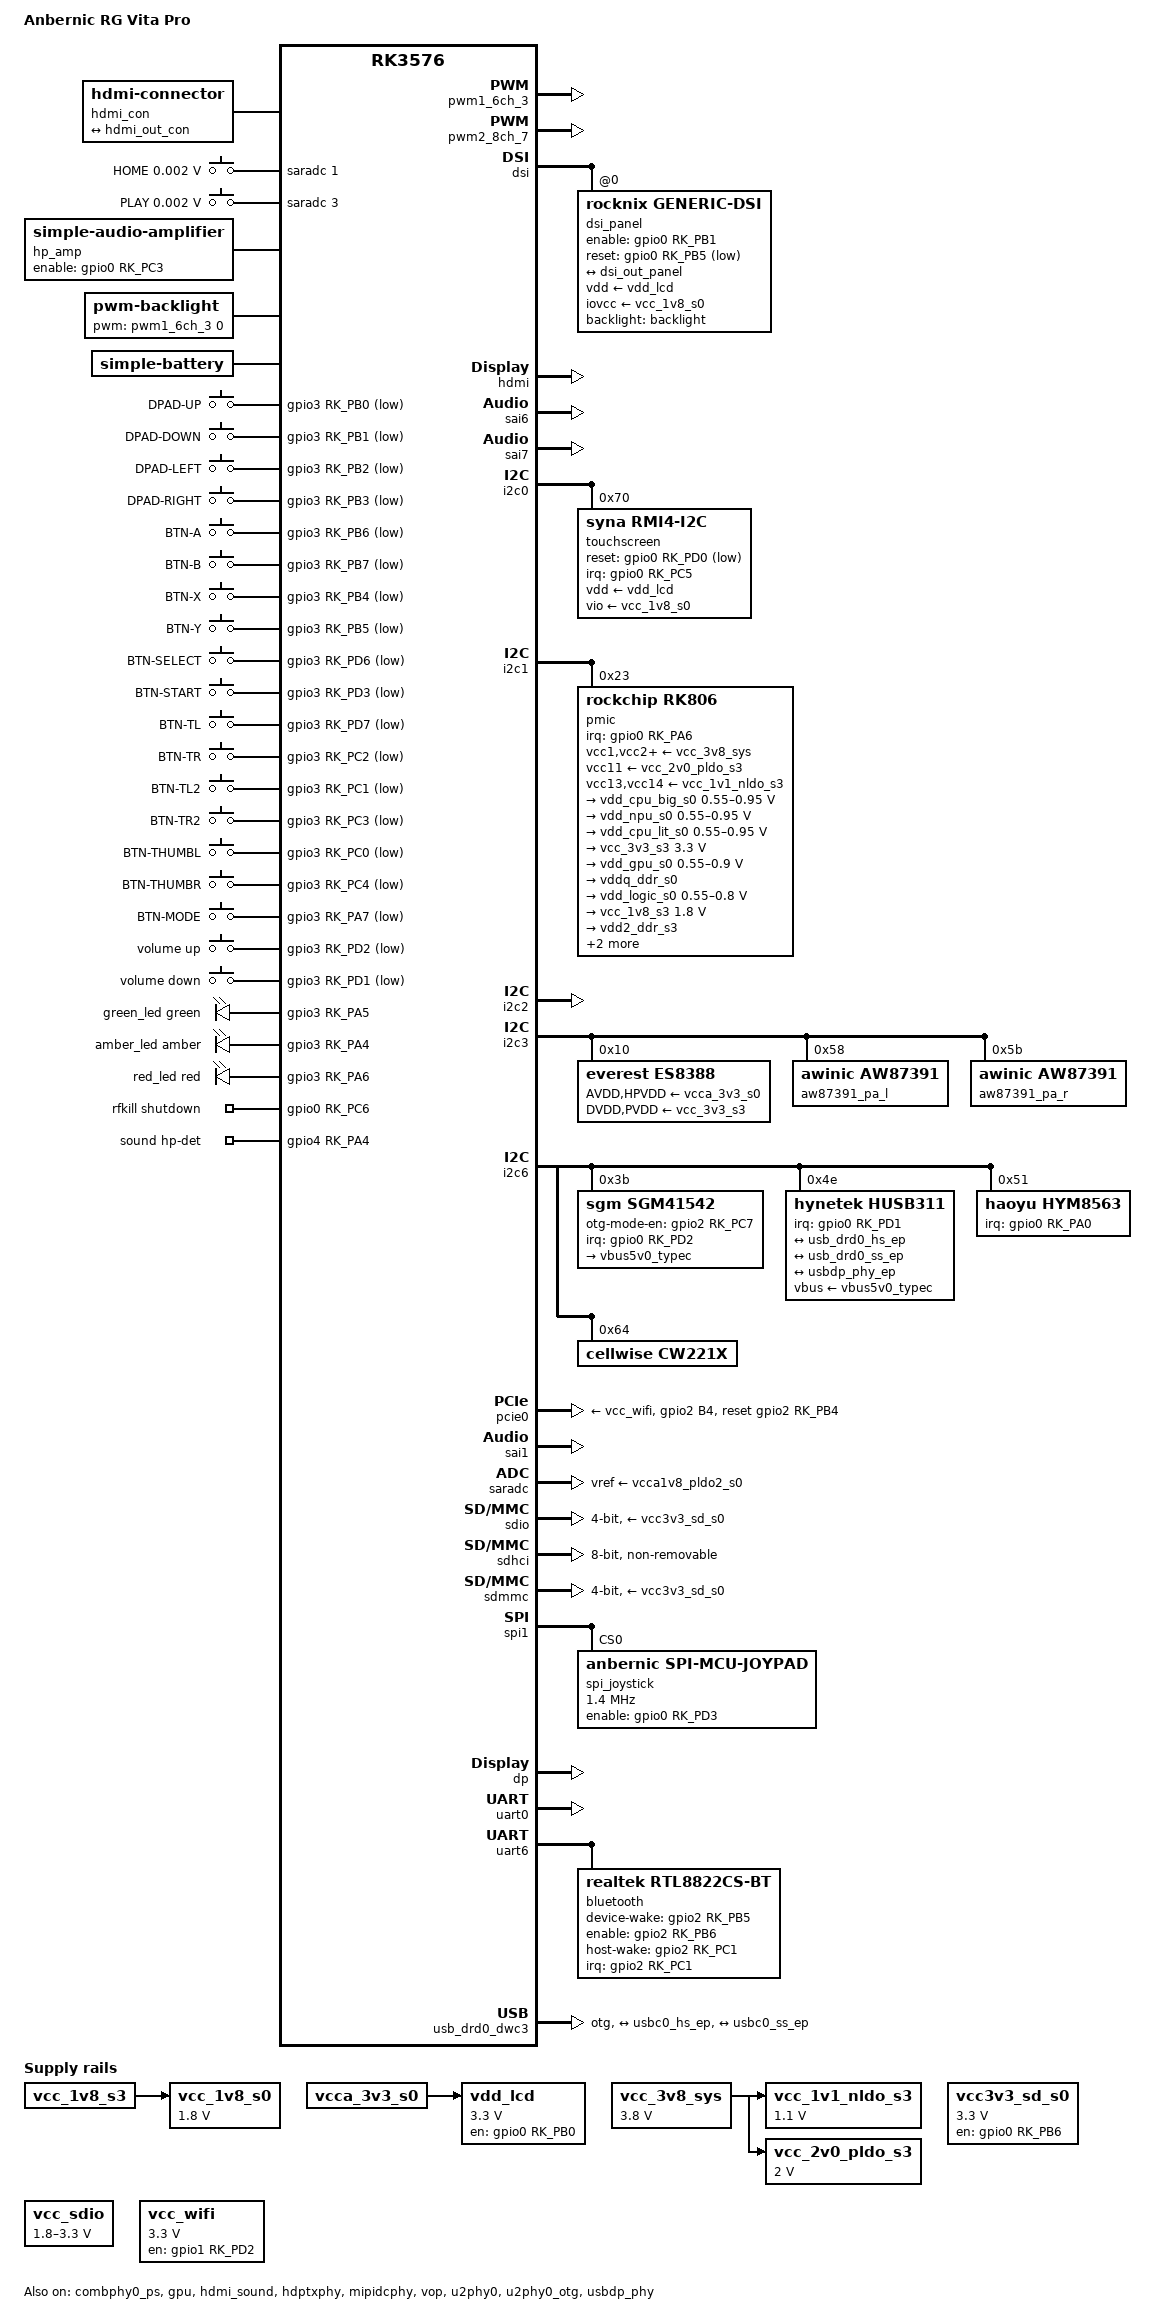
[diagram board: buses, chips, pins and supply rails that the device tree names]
// SPDX-License-Identifier: (GPL-2.0+ OR MIT)
/*
 * Copyright (c) 2026 Chris Morgan <macromorgan@hotmail.com>
 *               2026 Alexander Weinzerl <aweinzerl13@yahoo.com.>
 */

/dts-v1/;

#include <dt-bindings/gpio/gpio.h>
#include <dt-bindings/input/linux-event-codes.h>
#include <dt-bindings/leds/common.h>
#include <dt-bindings/pinctrl/rockchip.h>
#include <dt-bindings/pwm/pwm.h>
#include <dt-bindings/soc/rockchip,vop2.h>
#include <dt-bindings/usb/pd.h>

#include "rk3576.dtsi"

/ {
	model = "Anbernic RG Vita Pro";
	compatible = "anbernic,rg-vita-pro", "rockchip,rk3576";

	aliases {
		mmc0 = &sdhci;
		mmc1 = &sdmmc;
		mmc2 = &sdio;
	};

	chosen {
		stdout-path = "serial0:1500000n8";
	};

	/* Consider moving to a patch for other RK3576 devices */
	reserved-memory {
		#address-cells = <2>;
		#size-cells = <2>;
		ranges;

		linux,cma {
			compatible = "shared-dma-pool";
			reusable;
			size = <0x0 0x10000000>;
			alignment = <0x0 0x400000>;
			linux,cma-default;
		};
	};

	hdmi_con: hdmi-connector {
		compatible = "hdmi-connector";
		type = "c";

		port {
			hdmi_con_in: endpoint {
				remote-endpoint = <&hdmi_out_con>;
			};
		};
	};

	adc_keys_home: adc-keys-home {
		compatible = "adc-keys";
		io-channel-names = "buttons";
		io-channels = <&saradc 1>;
		keyup-threshold-microvolt = <1800000>;
		poll-interval = <60>;

		button-home {
			label = "HOME";
			linux,code = <BTN_Z>;
			press-threshold-microvolt = <1750>;
		};
	};

	adc_keys_play: adc-keys-play {
		compatible = "adc-keys";
		io-channel-names = "buttons";
		io-channels = <&saradc 3>;
		keyup-threshold-microvolt = <1300000>;
		poll-interval = <60>;

		button-play {
			label = "PLAY";
			linux,code = <KEY_PLAYPAUSE>;
			press-threshold-microvolt = <1750>;
		};
	};
	
	hp_amp: audio-amplifier {
		compatible = "simple-audio-amplifier";
		enable-gpios = <&gpio0 RK_PC3 GPIO_ACTIVE_HIGH>;
		pinctrl-0 = <&hp_amp_enable_h>;
		pinctrl-names = "default";
		sound-name-prefix = "Headphone Amp";
	};

	backlight: backlight {
		compatible = "pwm-backlight";
		pwms = <&pwm1_6ch_3 0 25000 0>;
		brightness-levels = <
			  0   0   0   0   1   1   1   1   1   2   2   2   3   3   3   4
			  4   4   5   5   6   6   6   7   7   8   8   9   9  10  10  11
			 11  12  12  13  14  14  15  15  16  16  17  18  18  19  20  20
			 21  21  22  23  23  24  25  26  26  27  28  28  29  30  31  31
			 32  33  34  34  35  36  37  37  38  39  40  41  41  42  43  44
			 45  46  46  47  48  49  50  51  52  53  53  54  55  56  57  58
			 59  60  61  62  63  64  65  65  66  67  68  69  70  71  72  73
			 74  75  76  77  78  79  80  81  82  83  84  85  86  88  89  90
			 91  92  93  94  95  96  97  98  99 100 102 103 104 105 106 107
			108 109 110 112 113 114 115 116 117 119 120 121 122 123 124 126
			127 128 129 130 132 133 134 135 136 138 139 140 141 142 144 145
			146 147 149 150 151 152 154 155 156 158 159 160 161 163 164 165
			167 168 169 171 172 173 174 176 177 178 180 181 182 184 185 187
			188 189 191 192 193 195 196 197 199 200 202 203 204 206 207 209
			210 211 213 214 216 217 218 220 221 223 224 226 227 228 230 231
			233 234 236 237 239 240 242 243 245 246 248 249 251 252 254 255
		>;
		default-brightness-level = <128>;
	};

	battery: battery {
		compatible = "simple-battery";
		charge-full-design-microamp-hours = <5000000>;
		charge-term-current-microamp = <300000>;
		constant-charge-current-max-microamp = <3780000>;
		constant-charge-voltage-max-microvolt = <4350000>;
		factory-internal-resistance-micro-ohms = <80>;
		precharge-current-microamp = <180000>;
		precharge-upper-limit-microvolt = <3600000>;
		voltage-max-design-microvolt = <4350000>;
		voltage-min-design-microvolt = <3000000>;
	};

	/*
	 * Analog sticks + RGB LEDs are handled by an SPI MCU
	 * (spi1: spi_joystick, driver: spi-mcu-joypad).
	 */
	gamepad_keys: gamepad-keys {
		compatible = "gpio-keys";
		pinctrl-names = "default";
		pinctrl-0 = <&button_pins>;

		button-dpad-up {
			label = "DPAD-UP";
			gpios = <&gpio3 RK_PB0 GPIO_ACTIVE_LOW>;
			linux,code = <BTN_DPAD_UP>;
		};
		button-dpad-down {
			label = "DPAD-DOWN";
			gpios = <&gpio3 RK_PB1 GPIO_ACTIVE_LOW>;
			linux,code = <BTN_DPAD_DOWN>;
		};
		button-dpad-left {
			label = "DPAD-LEFT";
			gpios = <&gpio3 RK_PB2 GPIO_ACTIVE_LOW>;
			linux,code = <BTN_DPAD_LEFT>;
		};
		button-dpad-right {
			label = "DPAD-RIGHT";
			gpios = <&gpio3 RK_PB3 GPIO_ACTIVE_LOW>;
			linux,code = <BTN_DPAD_RIGHT>;
		};
		button-a {
			label = "BTN-A";
			gpios = <&gpio3 RK_PB6 GPIO_ACTIVE_LOW>;
			linux,code = <BTN_EAST>;
		};
		button-b {
			label = "BTN-B";
			gpios = <&gpio3 RK_PB7 GPIO_ACTIVE_LOW>;
			linux,code = <BTN_SOUTH>;
		};
		button-x {
			label = "BTN-X";
			gpios = <&gpio3 RK_PB4 GPIO_ACTIVE_LOW>;
			linux,code = <BTN_NORTH>;
		};
		button-y {
			label = "BTN-Y";
			gpios = <&gpio3 RK_PB5 GPIO_ACTIVE_LOW>;
			linux,code = <BTN_WEST>;
		};
		button-select {
			label = "BTN-SELECT";
			gpios = <&gpio3 RK_PD6 GPIO_ACTIVE_LOW>;
			linux,code = <BTN_SELECT>;
		};
		button-start {
			label = "BTN-START";
			gpios = <&gpio3 RK_PD3 GPIO_ACTIVE_LOW>;
			linux,code = <BTN_START>;
		};
		button-l1 {
			label = "BTN-TL";
			gpios = <&gpio3 RK_PD7 GPIO_ACTIVE_LOW>;
			linux,code = <BTN_TL>;
		};
		button-r1 {
			label = "BTN-TR";
			gpios = <&gpio3 RK_PC2 GPIO_ACTIVE_LOW>;
			linux,code = <BTN_TR>;
		};
		button-l2 {
			label = "BTN-TL2";
			gpios = <&gpio3 RK_PC1 GPIO_ACTIVE_LOW>;
			linux,code = <BTN_TL2>;
		};
		button-r2 {
			label = "BTN-TR2";
			gpios = <&gpio3 RK_PC3 GPIO_ACTIVE_LOW>;
			linux,code = <BTN_TR2>;
		};
		button-thumbl {
			label = "BTN-THUMBL";
			gpios = <&gpio3 RK_PC0 GPIO_ACTIVE_LOW>;
			linux,code = <BTN_THUMBL>;
		};
		button-thumbr {
			label = "BTN-THUMBR";
			gpios = <&gpio3 RK_PC4 GPIO_ACTIVE_LOW>;
			linux,code = <BTN_THUMBR>;
		};
		button-mode {
			label = "BTN-MODE";
			gpios = <&gpio3 RK_PA7 GPIO_ACTIVE_LOW>;
			linux,code = <BTN_MODE>;
		};
	};

	gpio_keys: gpio-keys {
		compatible = "gpio-keys";
		pinctrl-0 = <&vol_keys>;
		pinctrl-names = "default";

		vol-up-key {
			debounce-interval = <2>;
			gpios = <&gpio3 RK_PD2 GPIO_ACTIVE_LOW>;
			label = "volume up";
			linux,code = <KEY_VOLUMEUP>;
		};

		vol-down-key {
			debounce-interval = <2>;
			gpios = <&gpio3 RK_PD1 GPIO_ACTIVE_LOW>;
			label = "volume down";
			linux,code = <KEY_VOLUMEDOWN>;
		};
	};

	gpio_leds: leds {
		compatible = "gpio-leds";
		pinctrl-0 = <&led_amber_h>, <&led_green_h>, <&led_red_h>;
		pinctrl-names = "default";

		green_led: led-0 {
			color = <LED_COLOR_ID_GREEN>;
			default-state = "on";
			function = LED_FUNCTION_POWER;
			gpios = <&gpio3 RK_PA5 GPIO_ACTIVE_HIGH>;
		};

		amber_led: led-1 {
			color = <LED_COLOR_ID_AMBER>;
			function = LED_FUNCTION_CHARGING;
			gpios = <&gpio3 RK_PA4 GPIO_ACTIVE_HIGH>;
		};

		red_led: led-2 {
			color = <LED_COLOR_ID_RED>;
			function = LED_FUNCTION_STATUS;
			gpios = <&gpio3 RK_PA6 GPIO_ACTIVE_HIGH>;
		};
	};

	pwm1_6ch_3: pwm@2add3000 {
		compatible = "rockchip,rk3576-pwm";
		reg = <0x0 0x2add3000 0x0 0x1000>;
		interrupts = <GIC_SPI 105 IRQ_TYPE_LEVEL_HIGH>;
		#pwm-cells = <3>;
		pinctrl-names = "default";
		pinctrl-0 = <&pwm1m2_ch3>;
		clocks = <&cru CLK_PWM1>, <&cru PCLK_PWM1>,
			 <&cru CLK_OSC_PWM1>, <&cru CLK_RC_PWM1>;
		clock-names = "pwm", "pclk", "osc", "rc";
		status = "okay";
	};

    pwm2_8ch_7: pwm@2ade7000 {
        compatible = "rockchip,rk3576-pwm";
        reg = <0x0 0x2ade7000 0 0x1000>;
        interrupts = <GIC_SPI 115 IRQ_TYPE_LEVEL_HIGH>;
        #pwm-cells = <3>;
        pinctrl-names = "default";
        pinctrl-0 = <&pwm2m2_ch7>;
		clocks = <&cru CLK_PWM2>, <&cru PCLK_PWM2>,
			 <&cru CLK_OSC_PWM2>, <&cru CLK_RC_PWM2>;
		clock-names = "pwm", "pclk", "osc", "rc";
        status = "okay";
    };

	rfkill {
		compatible = "rfkill-gpio";
		pinctrl-names = "default";
		pinctrl-0 = <&wifi_en_h>;
		radio-type = "wlan";
		shutdown-gpios = <&gpio0 RK_PC6 GPIO_ACTIVE_HIGH>;
	};

	sound: sound {
		compatible = "simple-audio-card";
		pinctrl-0 = <&hp_det>;
		pinctrl-names = "default";
		simple-audio-card,aux-devs = <&aw87391_pa_l>, <&aw87391_pa_r>,
						 <&hp_amp>;
		simple-audio-card,format = "i2s";
		simple-audio-card,hp-det-gpios = <&gpio4 RK_PA4 GPIO_ACTIVE_HIGH>;
		simple-audio-card,mclk-fs = <256>;
		simple-audio-card,name = "rockchip,es8388-codec";
		simple-audio-card,pin-switches = "Headphones", "Internal Speakers";
		simple-audio-card,routing =
			"LINPUT1", "Mic Jack",
			"LINPUT2", "Mic Jack",
			"RINPUT1", "Onboard Microphone",
			"RINPUT2", "Onboard Microphone",
			"Headphones", "Headphone Amp OUTL",
			"Headphones", "Headphone Amp OUTR",
			"Headphone Amp INL", "LOUT1",
			"Headphone Amp INR", "ROUT1",
			"Internal Speakers", "Left Amp OUT",
			"Internal Speakers", "Right Amp OUT",
			"Left Amp IN", "LOUT2",
			"Right Amp IN", "ROUT2";
		simple-audio-card,widgets =
			"Microphone", "Mic Jack",
			"Microphone", "Onboard Microphone",
			"Headphone", "Headphones",
			"Speaker", "Internal Speakers";
		status = "okay";

		simple-audio-card,codec {
			sound-dai = <&es8388>;
			system-clock-frequency = <12288000>;
		};

		simple-audio-card,cpu {
			sound-dai = <&sai1>;
		};
	};

	vcc_1v1_nldo_s3: regulator-vcc-1v1-nldo-s3 {
		compatible = "regulator-fixed";
		regulator-always-on;
		regulator-boot-on;
		regulator-max-microvolt = <1100000>;
		regulator-min-microvolt = <1100000>;
		regulator-name = "vcc_1v1_nldo_s3";
		vin-supply = <&vcc_3v8_sys>;
	};

	vcc_1v8_s0: vcc-1v8-s0 {
		compatible = "regulator-fixed";
		regulator-name = "vcc_1v8_s0";
		regulator-boot-on;
		regulator-always-on;
		regulator-min-microvolt = <1800000>;
		regulator-max-microvolt = <1800000>;
		vin-supply = <&vcc_1v8_s3>;
	};

	vcc_2v0_pldo_s3: regulator-vcc-2v0-pldo-s3 {
		compatible = "regulator-fixed";
		regulator-always-on;
		regulator-boot-on;
		regulator-max-microvolt = <2000000>;
		regulator-min-microvolt = <2000000>;
		regulator-name = "vcc_2v0_pldo_s3";
		vin-supply = <&vcc_3v8_sys>;
	};

	vcc_3v8_sys: regulator-vcc-3v8-sys {
		compatible = "regulator-fixed";
		regulator-always-on;
		regulator-boot-on;
		regulator-max-microvolt = <3800000>;
		regulator-min-microvolt = <3800000>;
		regulator-name = "vcc_3v8_sys";
	};

	vcc3v3_sd_s0: regulator-vcc3v3-sd-s0 {
		compatible = "regulator-fixed";
		enable-active-high;
		gpio = <&gpio0 RK_PB6 GPIO_ACTIVE_HIGH>;
		pinctrl-0 = <&vcc_3v3_sd_s0_h>;
		pinctrl-names = "default";
		regulator-max-microvolt = <3300000>;
		regulator-min-microvolt = <3300000>;
		regulator-name = "vcc3v3_sd_s0";
		regulator-state-mem {
			regulator-off-in-suspend;
		};
	};

	vcc_sdio: regulator-vcc-sdio {
		compatible = "regulator-gpio";
		regulator-name = "vcc_sdio";
		gpios = <&gpio0 RK_PB4 GPIO_ACTIVE_HIGH>;
		pinctrl-0 = <&vcc_sdio_h>;
		pinctrl-names = "default";
		regulator-max-microvolt = <3300000>;
		regulator-min-microvolt = <1800000>;
		states = <1800000 0>, <3300000 1>;
	};

	vcc_wifi: regulator-vcc-wifi {
		compatible = "regulator-fixed";
		regulator-always-on;
		regulator-name = "vcc_wifi";
		enable-active-high;
		gpios = <&gpio1 RK_PD2 GPIO_ACTIVE_HIGH>;
		pinctrl-0 = <&vcc_wifi_h>;
		pinctrl-names = "default";
		regulator-max-microvolt = <3300000>;
		regulator-min-microvolt = <3300000>;
		regulator-state-mem {
			regulator-on-in-suspend;
		};
	};

	vdd_lcd: regulator-vdd-lcd {
		compatible = "regulator-fixed";
		regulator-name = "vdd_lcd";
		regulator-min-microvolt = <3300000>;
		regulator-max-microvolt = <3300000>;
		enable-active-high;
		gpios = <&gpio0 RK_PB0 GPIO_ACTIVE_HIGH>;
		vin-supply = <&vcca_3v3_s0>;
		regulator-state-mem {
			regulator-off-in-suspend;
		};
	};
};

&combphy0_ps {
	status = "okay";
};

&cpu_b0 {
	cpu-supply = <&vdd_cpu_big_s0>;
};

&cpu_b1 {
	cpu-supply = <&vdd_cpu_big_s0>;
};

&cpu_b2 {
	cpu-supply = <&vdd_cpu_big_s0>;
};

&cpu_b3 {
	cpu-supply = <&vdd_cpu_big_s0>;
};

&cpu_l0 {
	cpu-supply = <&vdd_cpu_lit_s0>;
};

&cpu_l1 {
	cpu-supply = <&vdd_cpu_lit_s0>;
};

&cpu_l2 {
	cpu-supply = <&vdd_cpu_lit_s0>;
};

&cpu_l3 {
	cpu-supply = <&vdd_cpu_lit_s0>;
};

&dsi {
	status = "okay";
	#address-cells = <1>;
	#size-cells = <0>;

	dsi_panel: panel@0 {
		compatible = "rocknix,generic-dsi";
		reg = <0>;
		backlight = <&backlight>;
		enable-gpios = <&gpio0 RK_PB1 GPIO_ACTIVE_HIGH>;
		reset-gpios = <&gpio0 RK_PB5 GPIO_ACTIVE_LOW>;
		pinctrl-0 = <&lcd_enable>, <&lcd_rst>;
		pinctrl-names = "default";
		rotation = <270>;
		vdd-supply = <&vdd_lcd>;
		iovcc-supply = <&vcc_1v8_s0>;

		panel_description =
			"G size=229,143 delays=50,220,50,120,20 format=rgb888 lanes=4 flags=0xe03",
			"M clock=152000 horizontal=1080,100,4,100 vertical=1920,15,5,32 default=1";

		port {
			panel_in_dsi: endpoint {
				remote-endpoint = <&dsi_out_panel>;
			};
		};
	};
};

&dsi_in {
	dsi_in_vp1: endpoint {
		remote-endpoint = <&vp1_out_dsi>;
	};
};

&dsi_out {
	dsi_out_panel: endpoint {
		remote-endpoint = <&panel_in_dsi>;
	};
};

&gpu {
	mali-supply = <&vdd_gpu_s0>;
	/* Consider adding resets property to dtsi for
	   other RK3576 devices when applicable?       */
	resets = <&cru SRST_GPU>;
	status = "okay";
};

&hdmi {
	status = "okay";
};

&hdmi_in {
	hdmi_in_vp0: endpoint {
		remote-endpoint = <&vp0_out_hdmi>;
	};
};

&hdmi_out {
	hdmi_out_con: endpoint {
		remote-endpoint = <&hdmi_con_in>;
	};
};

&hdmi_sound {
	status = "okay";
};

&hdptxphy {
	status = "okay";
};

&sai6 {
	status = "okay";
};

&sai7 {
	status = "okay";
};

&vp0 {
	vp0_out_hdmi: endpoint@ROCKCHIP_VOP2_EP_HDMI0 {
		reg = <ROCKCHIP_VOP2_EP_HDMI0>;
		remote-endpoint = <&hdmi_in_vp0>;
	};
};

&i2c0 {
	pinctrl-0 = <&i2c0m1_xfer>;
	pinctrl-names = "default";
	status = "okay";

	touchscreen: rmi4-i2c@70 {
		compatible = "syna,rmi4-i2c";
		reg = <0x70>;
		syna,startup-delay-ms = <300>;
		syna,reset-delay-ms = <200>;
		interrupt-parent = <&gpio0>;
		interrupts = <RK_PC5 IRQ_TYPE_LEVEL_LOW>;
		reset-gpios = <&gpio0 RK_PD0 GPIO_ACTIVE_LOW>;
		pinctrl-names = "default";
		pinctrl-0 = <&touch_int &touch_rst>;
		vdd-supply = <&vdd_lcd>;
		vio-supply = <&vcc_1v8_s0>;
		#address-cells = <1>;
		#size-cells = <0>;

		rmi4-f01@1 {
			reg = <0x01>;
			syna,nosleep-mode = <1>;
		};

		rmi4-f12@12 {
			reg = <0x12>;
			syna,sensor-type = <1>;
			syna,clip-x-high = <1080>;
			syna,clip-y-high = <1920>;
		};
	};
};

&i2c1 {
	status = "okay";

	pmic@23 {
		compatible = "rockchip,rk806";
		reg = <0x23>;
		#gpio-cells = <2>;
		gpio-controller;
		interrupt-parent = <&gpio0>;
		interrupts = <RK_PA6 IRQ_TYPE_LEVEL_LOW>;
		pinctrl-names = "default";
		pinctrl-0 = <&pmic_pins
				 &rk806_dvs1_null
				 &rk806_dvs2_null
				 &rk806_dvs3_null>;
		system-power-controller;
		vcc1-supply = <&vcc_3v8_sys>;
		vcc2-supply = <&vcc_3v8_sys>;
		vcc3-supply = <&vcc_3v8_sys>;
		vcc4-supply = <&vcc_3v8_sys>;
		vcc5-supply = <&vcc_3v8_sys>;
		vcc6-supply = <&vcc_3v8_sys>;
		vcc7-supply = <&vcc_3v8_sys>;
		vcc8-supply = <&vcc_3v8_sys>;
		vcc9-supply = <&vcc_3v8_sys>;
		vcc10-supply = <&vcc_3v8_sys>;
		vcc11-supply = <&vcc_2v0_pldo_s3>;
		vcc12-supply = <&vcc_3v8_sys>;
		vcc13-supply = <&vcc_1v1_nldo_s3>;
		vcc14-supply = <&vcc_1v1_nldo_s3>;
		vcca-supply = <&vcc_3v8_sys>;

		rk806_dvs1_null: dvs1-null-pins {
			pins = "gpio_pwrctrl1";
			function = "pin_fun0";
		};

		rk806_dvs1_pwrdn: dvs1-pwrdn-pins {
			pins = "gpio_pwrctrl1";
			function = "pin_fun2";
		};

		rk806_dvs1_rst: dvs1-rst-pins {
			pins = "gpio_pwrctrl1";
			function = "pin_fun3";
		};

		rk806_dvs1_slp: dvs1-slp-pins {
			pins = "gpio_pwrctrl1";
			function = "pin_fun1";
		};

		rk806_dvs2_dvs: dvs2-dvs-pins {
			pins = "gpio_pwrctrl2";
			function = "pin_fun4";
		};

		rk806_dvs2_gpio: dvs2-gpio-pins {
			pins = "gpio_pwrctrl2";
			function = "pin_fun5";
		};

		rk806_dvs2_null: dvs2-null-pins {
			pins = "gpio_pwrctrl2";
			function = "pin_fun0";
		};

		rk806_dvs2_pwrdn: dvs2-pwrdn-pins {
			pins = "gpio_pwrctrl2";
			function = "pin_fun2";
		};

		rk806_dvs2_rst: dvs2-rst-pins {
			pins = "gpio_pwrctrl2";
			function = "pin_fun3";
		};

		rk806_dvs2_slp: dvs2-slp-pins {
			pins = "gpio_pwrctrl2";
			function = "pin_fun1";
		};

		rk806_dvs3_dvs: dvs3-dvs-pins {
			pins = "gpio_pwrctrl3";
			function = "pin_fun4";
		};

		rk806_dvs3_gpio: dvs3-gpio-pins {
			pins = "gpio_pwrctrl3";
			function = "pin_fun5";
		};

		rk806_dvs3_null: dvs3-null-pins {
			pins = "gpio_pwrctrl3";
			function = "pin_fun0";
		};

		rk806_dvs3_pwrdn: dvs3-pwrdn-pins {
			pins = "gpio_pwrctrl3";
			function = "pin_fun2";
		};

		rk806_dvs3_rst: dvs3-rst-pins {
			pins = "gpio_pwrctrl3";
			function = "pin_fun3";
		};

		rk806_dvs3_slp: dvs3-slp-pins {
			pins = "gpio_pwrctrl3";
			function = "pin_fun1";
		};

		regulators {
			vdd_cpu_big_s0: dcdc-reg1 {
				regulator-always-on;
				regulator-boot-on;
				regulator-enable-ramp-delay = <400>;
				regulator-min-microvolt = <550000>;
				regulator-max-microvolt = <950000>;
				regulator-name = "vdd_cpu_big_s0";
				regulator-ramp-delay = <12500>;
				regulator-state-mem {
					regulator-off-in-suspend;
				};
			};

			vdd_npu_s0: dcdc-reg2 {
				regulator-boot-on;
				regulator-enable-ramp-delay = <400>;
				regulator-min-microvolt = <550000>;
				regulator-max-microvolt = <950000>;
				regulator-name = "vdd_npu_s0";
				regulator-ramp-delay = <12500>;
				regulator-state-mem {
					regulator-off-in-suspend;
				};
			};

			vdd_cpu_lit_s0: dcdc-reg3 {
				regulator-always-on;
				regulator-boot-on;
				regulator-min-microvolt = <550000>;
				regulator-max-microvolt = <950000>;
				regulator-name = "vdd_cpu_lit_s0";
				regulator-ramp-delay = <12500>;
				regulator-state-mem {
					regulator-off-in-suspend;
					regulator-suspend-microvolt = <750000>;
				};
			};

			vcc_3v3_s3: dcdc-reg4 {
				regulator-always-on;
				regulator-boot-on;
				regulator-min-microvolt = <3300000>;
				regulator-max-microvolt = <3300000>;
				regulator-name = "vcc_3v3_s3";
				regulator-state-mem {
					regulator-on-in-suspend;
					regulator-suspend-microvolt = <3300000>;
				};
			};

			vdd_gpu_s0: dcdc-reg5 {
				regulator-boot-on;
				regulator-enable-ramp-delay = <400>;
				regulator-min-microvolt = <550000>;
				regulator-max-microvolt = <900000>;
				regulator-name = "vdd_gpu_s0";
				regulator-ramp-delay = <12500>;
				regulator-state-mem {
					regulator-off-in-suspend;
					regulator-suspend-microvolt = <850000>;
				};
			};

			vddq_ddr_s0: dcdc-reg6 {
				regulator-always-on;
				regulator-boot-on;
				regulator-name = "vddq_ddr_s0";
				regulator-state-mem {
					regulator-off-in-suspend;
				};
			};

			vdd_logic_s0: dcdc-reg7 {
				regulator-always-on;
				regulator-boot-on;
				regulator-min-microvolt = <550000>;
				regulator-max-microvolt = <800000>;
				regulator-name = "vdd_logic_s0";
				regulator-state-mem {
					regulator-off-in-suspend;
				};
			};

			vcc_1v8_s3: dcdc-reg8 {
				regulator-always-on;
				regulator-boot-on;
				regulator-min-microvolt = <1800000>;
				regulator-max-microvolt = <1800000>;
				regulator-name = "vcc_1v8_s3";
				regulator-state-mem {
					regulator-on-in-suspend;
					regulator-suspend-microvolt = <1800000>;
				};
			};

			vdd2_ddr_s3: dcdc-reg9 {
				regulator-always-on;
				regulator-boot-on;
				regulator-name = "vdd2_ddr_s3";
				regulator-state-mem {
					regulator-on-in-suspend;
				};
			};

			vdd_ddr_s0: dcdc-reg10 {
				regulator-always-on;
				regulator-boot-on;
				regulator-min-microvolt = <550000>;
				regulator-max-microvolt = <1200000>;
				regulator-name = "vdd_ddr_s0";
				regulator-state-mem {
					regulator-off-in-suspend;
				};
			};

			vcca_1v8_s0: pldo-reg1 {
				regulator-always-on;
				regulator-boot-on;
				regulator-min-microvolt = <1800000>;
				regulator-max-microvolt = <1800000>;
				regulator-name = "vcca_1v8_s0";
				regulator-state-mem {
					regulator-off-in-suspend;
				};
			};

			vcca1v8_pldo2_s0: pldo-reg2 {
				regulator-always-on;
				regulator-boot-on;
				regulator-min-microvolt = <1800000>;
				regulator-max-microvolt = <1800000>;
				regulator-name = "vcca1v8_pldo2_s0";
				regulator-state-mem {
					regulator-off-in-suspend;
				};
			};

			vdda_1v2_s0: pldo-reg3 {
				regulator-always-on;
				regulator-boot-on;
				regulator-min-microvolt = <1200000>;
				regulator-max-microvolt = <1200000>;
				regulator-name = "vdda_1v2_s0";
				regulator-state-mem {
					regulator-off-in-suspend;
				};
			};

			vcca_3v3_s0: pldo-reg4 {
				regulator-always-on;
				regulator-boot-on;
				regulator-min-microvolt = <3300000>;
				regulator-max-microvolt = <3300000>;
				regulator-name = "vcca_3v3_s0";
				regulator-state-mem {
					regulator-off-in-suspend;
				};
			};

			vccio_sd_s0: pldo-reg5 {
				regulator-always-on;
				regulator-boot-on;
				regulator-min-microvolt = <1800000>;
				regulator-max-microvolt = <3300000>;
				regulator-name = "vccio_sd_s0";
				regulator-state-mem {
					regulator-on-in-suspend;
				};
			};

			vcca1v8_pldo6_s3: pldo-reg6 {
				regulator-always-on;
				regulator-boot-on;
				regulator-min-microvolt = <1800000>;
				regulator-max-microvolt = <1800000>;
				regulator-name = "vcca1v8_pldo6_s3";
				regulator-state-mem {
					regulator-on-in-suspend;
					regulator-suspend-microvolt = <1800000>;
				};
			};

			vdd_0v75_s3: nldo-reg1 {
				regulator-always-on;
				regulator-boot-on;
				regulator-min-microvolt = <750000>;
				regulator-max-microvolt = <750000>;
				regulator-name = "vdd_0v75_s3";
				regulator-state-mem {
					regulator-on-in-suspend;
					regulator-suspend-microvolt = <750000>;
				};
			};

			vdda_ddr_pll_s0: nldo-reg2 {
				regulator-always-on;
				regulator-boot-on;
				regulator-min-microvolt = <850000>;
				regulator-max-microvolt = <850000>;
				regulator-name = "vdda_ddr_pll_s0";
				regulator-state-mem {
					regulator-off-in-suspend;
				};
			};

			vdda0v75_hdmi_s0: nldo-reg3 {
				regulator-always-on;
				regulator-boot-on;
				regulator-min-microvolt = <750000>;
				regulator-max-microvolt = <750000>;
				regulator-name = "vdda0v75_hdmi_s0";
				regulator-state-mem {
					regulator-off-in-suspend;
				};
			};

			vdda_0v85_s0: nldo-reg4 {
				regulator-always-on;
				regulator-boot-on;
				regulator-min-microvolt = <850000>;
				regulator-max-microvolt = <850000>;
				regulator-name = "vdda_0v85_s0";
				regulator-state-mem {
					regulator-off-in-suspend;
				};
			};

			vdda_0v75_s0: nldo-reg5 {
				regulator-always-on;
				regulator-boot-on;
				regulator-min-microvolt = <750000>;
				regulator-max-microvolt = <750000>;
				regulator-name = "vdda_0v75_s0";
				regulator-state-mem {
					regulator-off-in-suspend;
				};
			};
		};
	};
};

&i2c2 {
	status = "okay";

	/* icm42607 accel/gyro at 0x68               */
	/* Waiting for mainline to accept the driver */
};

&i2c3 {
	status = "okay";

	es8388: audio-codec@10 {
		compatible = "everest,es8388", "everest,es8328";
		reg = <0x10>;
		assigned-clock-rates = <12288000>;
		assigned-clocks = <&cru CLK_SAI1_MCLKOUT_TO_IO>;
		AVDD-supply = <&vcca_3v3_s0>;
		clocks = <&cru CLK_SAI1_MCLKOUT_TO_IO>;
		DVDD-supply = <&vcc_3v3_s3>;
		HPVDD-supply = <&vcca_3v3_s0>;
		pinctrl-0 = <&sai1m0_mclk>;
		pinctrl-names = "default";
		PVDD-supply = <&vcc_3v3_s3>;
		#sound-dai-cells = <0>;
	};

	aw87391_pa_l: audio-codec@58 {
		compatible = "awinic,aw87391";
		reg = <0x58>;
		#sound-dai-cells = <0>;
		sound-name-prefix = "Left Amp";
	};

	aw87391_pa_r: audio-codec@5b {
		compatible = "awinic,aw87391";
		reg = <0x5b>;
		#sound-dai-cells = <0>;
		sound-name-prefix = "Right Amp";
	};
};

&i2c6 {
	pinctrl-0 = <&i2c6m3_xfer>;
	pinctrl-names = "default";
	status = "okay";

	sgm41542@3b {
		status = "okay";
		compatible = "sgm,sgm41542";
		reg = <0x3b>;
		pinctrl-names = "default";
		pinctrl-0 = <&charger_ok>;
		interrupt-parent = <&gpio0>;
		interrupts = <RK_PD2 IRQ_TYPE_EDGE_FALLING>;
		otg-mode-en-gpios = <&gpio2 RK_PC7 GPIO_ACTIVE_HIGH>;
		input-voltage-limit-microvolt = <4500000>;
		input-current-limit-microamp = <3000000>;
		monitored-battery = <&battery>;

		regulators {
			vbus5v0_typec: vbus5v0-typec {
				regulator-compatible = "otg-vbus";
				regulator-name = "vbus5v0_typec";
			};
		};
	};

	/* Unused iSmartWare SW2001 encryption device at 0x3c */

	husb311: typec-portc@4e {
		status = "okay";
		compatible = "hynetek,husb311";
		reg = <0x4e>;
		interrupt-parent = <&gpio0>;
		interrupts = <RK_PD1 IRQ_TYPE_LEVEL_LOW>;
		pinctrl-0 = <&usbc_int>;
		pinctrl-names = "default";
		vbus-supply = <&vbus5v0_typec>;

		connector {
			compatible = "usb-c-connector";
			label = "USB-C";
			data-role = "dual";
			op-sink-microwatt = <1000000>;
			power-role = "dual";
			try-power-role  = "sink";

			sink-pdos = <PDO_FIXED(5000, 3000, PDO_FIXED_USB_COMM)
					 PDO_FIXED(9000, 2000, PDO_FIXED_USB_COMM)>;
			source-pdos = <PDO_FIXED(5000, 3000, PDO_FIXED_USB_COMM)>;

			altmodes {
				displayport {
					svid = /bits/ 16 <0xff01>;
					vdo = <0xffffffff>;
				};
			};

			ports {
				#address-cells = <1>;
				#size-cells = <0>;

				port@0 {
					reg = <0>;
					usbc0_hs_ep: endpoint {
						remote-endpoint = <&usb_drd0_hs_ep>;
					};
				};
				port@1 {
					reg = <1>;
					usbc0_ss_ep: endpoint {
						remote-endpoint = <&usb_drd0_ss_ep>;
					};
				};
				port@2 {
					reg = <2>;
					usbc0_dp_ep: endpoint {
						remote-endpoint = <&usbdp_phy_ep>;
					};
				};
			};
		};
	};

	hym8563: rtc@51 {
		status = "okay";
		compatible = "haoyu,hym8563";
		reg = <0x51>;
		#clock-cells = <0>;
		clock-output-names = "hym8563";
		interrupt-parent = <&gpio0>;
		interrupts = <RK_PA0 IRQ_TYPE_LEVEL_LOW>;
		pinctrl-names = "default";
		pinctrl-0 = <&hym8563_int>;
		wakeup-source;
	};

	cw221X: fuel-gauge@64 {
		compatible = "cellwise,cw221X";
		reg = <0x64>;
		status = "okay";
		cw,user_rsense = <2000>;
		cellwise,battery-profile = [
			5a 00 00 00 00 00 00 00 ab b5 ae c0 a9 a4 cf af
			96 ff ff d7 9a 83 70 69 65 65 65 b8 81 d9 af d9
			d2 ce cd cb ca c7 c8 c5 c2 ba a8 96 8a 85 7d 7a
			7f 88 92 93 94 d3 ff 5f 20 00 ab 10 00 91 68 00
			00 00 64 3c a0 89 00 00 00 00 00 00 00 00 00 b2
		];
	};
};

&mipidcphy {
	status = "okay";
};

&pcie0 {
	pinctrl-names = "default";
	pinctrl-0 = <&pcie0_perstn>;
	reset-gpios = <&gpio2 RK_PB4 GPIO_ACTIVE_HIGH>;
	vpcie3v3-supply = <&vcc_wifi>;
	supports-clkreq;
	wakeup-source;
	aspm-no-l0s;
	status = "okay";
};

&pinctrl {
	audio {
		hp_amp_enable_h: hp-amp-enable {
			rockchip,pins = <0 RK_PC3 RK_FUNC_GPIO &pcfg_pull_none>;
		};

		hp_det: hp-det {
			rockchip,pins = <4 RK_PA4 RK_FUNC_GPIO &pcfg_pull_up>;
		};
	};

	buttons {
		button_pins: button-pins {
			rockchip,pins =
				<3 RK_PB0 RK_FUNC_GPIO &pcfg_pull_up>,
				<3 RK_PB1 RK_FUNC_GPIO &pcfg_pull_up>,
				<3 RK_PB2 RK_FUNC_GPIO &pcfg_pull_up>,
				<3 RK_PB3 RK_FUNC_GPIO &pcfg_pull_up>,
				<3 RK_PB6 RK_FUNC_GPIO &pcfg_pull_up>,
				<3 RK_PB7 RK_FUNC_GPIO &pcfg_pull_up>,
				<3 RK_PB4 RK_FUNC_GPIO &pcfg_pull_up>,
				<3 RK_PB5 RK_FUNC_GPIO &pcfg_pull_up>,
				<3 RK_PD6 RK_FUNC_GPIO &pcfg_pull_up>,
				<3 RK_PD3 RK_FUNC_GPIO &pcfg_pull_up>,
				<3 RK_PD7 RK_FUNC_GPIO &pcfg_pull_up>,
				<3 RK_PC2 RK_FUNC_GPIO &pcfg_pull_up>,
				<3 RK_PC1 RK_FUNC_GPIO &pcfg_pull_up>,
				<3 RK_PC3 RK_FUNC_GPIO &pcfg_pull_up>,
				<3 RK_PC0 RK_FUNC_GPIO &pcfg_pull_up>,
				<3 RK_PC4 RK_FUNC_GPIO &pcfg_pull_up>,
				<3 RK_PA7 RK_FUNC_GPIO &pcfg_pull_up>;
		};
	};

	charger {
		charger_ok: charger-ok {
			rockchip,pins =
				<0 RK_PD2 RK_FUNC_GPIO &pcfg_pull_up>,
				<2 RK_PC7 RK_FUNC_GPIO &pcfg_pull_up>;
		};
	};

	display {
		lcd_enable: lcd-enable {
			rockchip,pins = <0 RK_PB1 RK_FUNC_GPIO &pcfg_pull_none>;
		};
		
		lcd_rst: lcd-rst {
			rockchip,pins = <0 RK_PB5 RK_FUNC_GPIO &pcfg_pull_down>;
		};
	};

	led {
		led_amber_h: led-amber-h {
			rockchip,pins = <3 RK_PA4 RK_FUNC_GPIO &pcfg_pull_none>;
		};

		led_green_h: led-green-h {
			rockchip,pins = <3 RK_PA5 RK_FUNC_GPIO &pcfg_pull_none>;
		};

		led_red_h: led-red-h {
			rockchip,pins = <3 RK_PA6 RK_FUNC_GPIO &pcfg_pull_none>;
		};
	};

	pcie {
		pcie0_perstn: pcie0-perstn {
			rockchip,pins = <2 RK_PB4 RK_FUNC_GPIO &pcfg_pull_up>;
		};
	};

	regulator {
		vcc_3v3_sd_s0_h: vcc-3v3-sd-s0-h {
			rockchip,pins = <0 RK_PB6 RK_FUNC_GPIO &pcfg_pull_none>;
		};

		vcc_sdio_h: vcc-sdio-h {
			rockchip,pins = <0 RK_PB4 RK_FUNC_GPIO &pcfg_pull_none>;
		};

		vcc_wifi_h: vcc-wifi-h {
			rockchip,pins = <1 RK_PD2 RK_FUNC_GPIO &pcfg_pull_none>;
		};

		vdd_lcd_h: vdd-lcd-h {
			rockchip,pins = <0 RK_PB0 RK_FUNC_GPIO &pcfg_pull_none>;
		};
	};

	rtc {
		hym8563_int: hym8563-int {
			rockchip,pins = <0 RK_PA0 RK_FUNC_GPIO &pcfg_pull_up>;
		};
	};

	touch {
		touch_int: touch-int {
			rockchip,pins = <0 RK_PC5 RK_FUNC_GPIO &pcfg_pull_up>;
		};
		
		touch_rst: touch-rst {
			rockchip,pins = <0 RK_PD0 RK_FUNC_GPIO &pcfg_pull_up>;
		};
	};

	usb {
		usbc_int: usbc-int {
			rockchip,pins = <0 RK_PD1 RK_FUNC_GPIO &pcfg_pull_up>;
		};

		usbc0_sbu1: usbc0-sbu1 {
			rockchip,pins = <4 RK_PB6 RK_FUNC_GPIO &pcfg_pull_down>;
		};

		usbc0_sbu2: usbc0-sbu2 {
			rockchip,pins = <4 RK_PB7 RK_FUNC_GPIO &pcfg_pull_down>;
		};
	};

	volume-keys {
		vol_keys: vol-keys {
			rockchip,pins =
				<3 RK_PD2 RK_FUNC_GPIO &pcfg_pull_up>,
				<3 RK_PD1 RK_FUNC_GPIO &pcfg_pull_up>;
		};
	};

	wifi {
		wifi_en_h: wifi-en-h {
			rockchip,pins = <0 RK_PC6 RK_FUNC_GPIO &pcfg_pull_none>;
		};
	};

	bluetooth {
		bt_reset_gpio: bt-reset-pin {
			rockchip,pins = <2 RK_PB6 RK_FUNC_GPIO &pcfg_pull_none>;
		};

		bt_wake_gpio: bt-wake-pin {
			rockchip,pins = <2 RK_PB5 RK_FUNC_GPIO &pcfg_pull_none>;
		};

		bt_wake_host_irq: bt-wake-host-irq {
			rockchip,pins = <2 RK_PC1 RK_FUNC_GPIO &pcfg_pull_up>;
		};
	};
};

&sai1 {
	pinctrl-0 = <&sai1m0_lrck
			 &sai1m0_sclk
			 &sai1m0_sdi0
			 &sai1m0_sdo0>;
	pinctrl-names = "default";
	status = "okay";
};

&saradc {
	vref-supply = <&vcca1v8_pldo2_s0>;
	status = "okay";
};

&sdio {
	bus-width = <4>;
	cap-mmc-highspeed;
	cap-sd-highspeed;
	disable-wp;
	max-frequency = <150000000>;
	no-mmc;
	no-sdio;
	pinctrl-0 = <&sdmmc1m0_bus4>, <&sdmmc1m0_clk>,
			<&sdmmc1m0_cmd>, <&sdmmc1m0_det>;
	pinctrl-names = "default";
	sd-uhs-sdr12;
	sd-uhs-sdr25;
	sd-uhs-sdr50;
	sd-uhs-sdr104;
	vmmc-supply = <&vcc3v3_sd_s0>;
	vqmmc-supply = <&vcc_sdio>;
	status = "okay";
};

&sdhci {
	bus-width = <8>;
	full-pwr-cycle-in-suspend;
	no-sd;
	no-sdio;
	non-removable;
	mmc-hs400-1_8v;
	mmc-hs400-enhanced-strobe;
	status = "okay";
};

&sdmmc {
	bus-width = <4>;
	cap-mmc-highspeed;
	cap-sd-highspeed;
	disable-wp;
	max-frequency = <150000000>;
	no-sdio;
	no-mmc;
	pinctrl-0 = <&sdmmc0_bus4>, <&sdmmc0_clk>,
			<&sdmmc0_cmd>, <&sdmmc0_det>;
	pinctrl-names = "default";
	sd-uhs-sdr12;
	sd-uhs-sdr25;
	sd-uhs-sdr50;
	sd-uhs-sdr104;
	vmmc-supply = <&vcc3v3_sd_s0>;
	vqmmc-supply = <&vccio_sd_s0>;
	status = "okay";
};

&spi1 {
	num-cs = <1>;
	pinctrl-0 = <&spi1m2_pins>, <&spi1m2_csn0>;
	status = "okay";

	spi_joystick@0 {
		compatible = "anbernic,spi-mcu-joypad";
		reg = <0>;
		spi-max-frequency = <1400000>;
		enable-gpios = <&gpio0 RK_PD3 GPIO_ACTIVE_HIGH>;
		poll-interval-ms = <5>;
		abs-x-min = <2500>;
		abs-x-max = <25000>;
		abs-y-min = <2500>;
		abs-y-max = <25000>;
		abs-rx-min = <2500>;
		abs-rx-max = <25000>;
		abs-ry-min = <2500>;
		abs-ry-max = <25000>;
		deadzone-left = <3000>;
		deadzone-right = <3000>;
		deadzone-triggers = <32000>; /* No analog triggers */
		status = "okay";
	};
};

&vop {
	assigned-clocks = <&cru PLL_VPLL>, <&cru DCLK_VP1_SRC>;
	assigned-clock-parents = <0>, <&cru PLL_VPLL>;
	assigned-clock-rates = <1824000000>, <0>;
	status = "okay";
};

&vop_mmu {
	status = "okay";
};

&vp1 {
	vp1_out_dsi: endpoint@ROCKCHIP_VOP2_EP_MIPI0 {
		reg = <ROCKCHIP_VOP2_EP_MIPI0>;
		remote-endpoint = <&dsi_in_vp1>;
	};
};

&vp2 {
	vp2_out_dp0: endpoint@ROCKCHIP_VOP2_EP_DP0 {
		reg = <ROCKCHIP_VOP2_EP_DP0>;
		remote-endpoint = <&dp0_in_vp2>;
	};
};

&dp {
	status = "okay";
};

&dp0_in {
	dp0_in_vp2: endpoint {
		remote-endpoint = <&vp2_out_dp0>;
	};
};

&u2phy0 {
	status = "okay";
};

&u2phy0_otg {
	status = "okay";
};

&uart0 {
	status = "okay";
};

&uart6 {
	pinctrl-0 = <&uart6m1_xfer>, <&uart6m1_ctsn>, <&uart6m1_rtsn>;
	pinctrl-names = "default";
	uart-has-rtscts;
	status = "okay";

	bluetooth {
		status = "okay";
		compatible = "realtek,rtl8822cs-bt";
		device-wake-gpios = <&gpio2 RK_PB5 GPIO_ACTIVE_HIGH>;
		enable-gpios = <&gpio2 RK_PB6 GPIO_ACTIVE_HIGH>;
		host-wake-gpios = <&gpio2 RK_PC1 GPIO_ACTIVE_HIGH>;
		interrupt-parent = <&gpio2>;
		interrupts = <RK_PC1 IRQ_TYPE_LEVEL_LOW>;
		pinctrl-0 = <&bt_reset_gpio>, <&bt_wake_gpio>, <&bt_wake_host_irq>;
		pinctrl-names = "default";
	};
};

&usbdp_phy {
	mode-switch;
	orientation-switch;
	pinctrl-names = "default";
	pinctrl-0 = <&usbc0_sbu1 &usbc0_sbu2>;
	sbu1-dc-gpios = <&gpio4 RK_PB6 GPIO_ACTIVE_HIGH>;
	sbu2-dc-gpios = <&gpio4 RK_PB7 GPIO_ACTIVE_HIGH>;
	status = "okay";

	port {
		usbdp_phy_ep: endpoint {
			remote-endpoint = <&usbc0_dp_ep>;
		};
	};
};

&usb_drd0_dwc3 {
	usb-role-switch;
	dr_mode = "otg";
	status = "okay";

	ports {
		#address-cells = <1>;
		#size-cells = <0>;

		port@0 {
			reg = <0>;
			usb_drd0_hs_ep: endpoint {
				remote-endpoint = <&usbc0_hs_ep>;
			};
		};

		port@1 {
			reg = <1>;
			usb_drd0_ss_ep: endpoint {
				remote-endpoint = <&usbc0_ss_ep>;
			};
		};
	};
};
